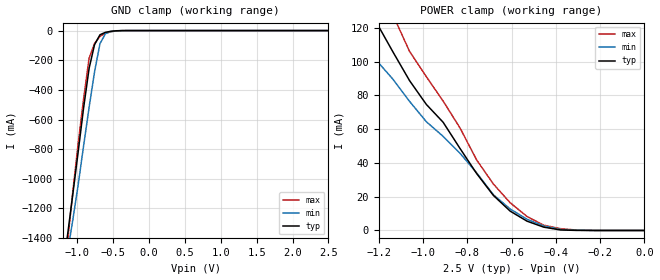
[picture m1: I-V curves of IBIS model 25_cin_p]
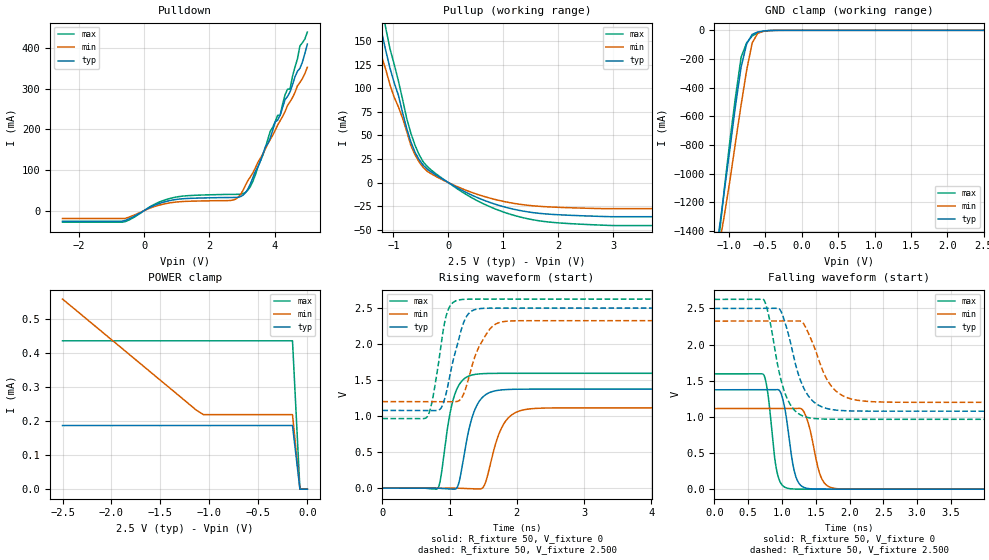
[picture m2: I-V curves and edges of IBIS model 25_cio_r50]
[IBIS Ver]   4.2
[File Name]  SevenSegmentSwitches.ibs
[File Rev]   3.0
[Date]   December 05, 2024
[Source]   Altera Corporation
[Notes]   - The models are designated as "Final" and have been correlated against physical device operation.
   - This IBIS model is checked using IBISCHK v5.0.4
   There are no known errors and warnings reported.
   - There are no known limitations for this IBIS model release.
   - Contact point: Altera Corporation, http://www.altera.com/corporate/contact/con-index.html
   - This file is generated using Quartus II Version 20.1.1 Build 720 11/11/2020 SJ Lite Edition
   - Unused IOs which have been assigned as tri-stated inputs or as outputs driving any signal in Quartus II
   arerepresented by the NC.
   - Only general purpose IBIS models are supported.
   Revision History
   - v1.0
   - Initial release of MAX 10 IBIS models. Models are based on pre-layout and early engineering info.
   - v2.0
   - Models are based on post-layout, may be missing certain features.
   - v3.0
   - Models have undergone final correlation against physical device operation.
[Disclaimer] Data is for modeling purposes only and is not guaranteed.
[Copyright]  Copyright (C) 2020  Intel Corporation. All rights reserved.
[Component]  10M50DAF484C7G_SevenSegmentSwitches
[Manufacturer] Altera Corporation
[Package]
| RLC values are for 484 FBGA package
| variable  typ   min   max
R_pkg   538m   189m   874m
L_pkg   4.73nH   2.00nH   8.14nH
C_pkg   1.04pF   0.55pF   1.67pF
[Pin] signal_name   model_name   R_pin   L_pin   C_pin
A1   GND   GND
A17   HEX1[4]   25_cio_r50   622.8m   5.389nH   1.286pF
A18   HEX1[5]   25_cio_r50   646.5m   5.203nH   1.362pF
A20   HEX2[1]   25_cio_r50   806.9m   7.451nH   1.498pF
A21   HEX2[3]   25_rio_r50   852.2m   7.511nH   1.592pF
A22   GND   GND
AA18  GND   GND
AA4   GND   GND
AB1   GND   GND
AB22  GND   GND
B13   GND   GND
B16   HEX1[3]   25_cio_r50   548.2m   4.460nH   1.125pF
B17   HEX1[6]   25_cio_r50   583.7m   4.729nH   1.194pF
B18   GND   GND
B19   HEX2[2]   25_cio_r50   750.6m   6.930nH   1.380pF
B20   HEX2[0]   25_rio_r50   784.2m   7.629nH   1.484pF
B21   HEX2[4]   25_rio_r50   810.9m   7.496nH   1.501pF
B22   HEX2[6]   25_rio_r50   874.6m   7.174nH   1.590pF
B6   GND   GND
B9   GND   GND
C10   switches[0]   25_cin_p   360.7m   3.168nH   0.905pF
C11   switches[1]   25_cin_p   356.1m   3.552nH   0.891pF
C12   switches[3]   25_cin_p   372.1m   3.451nH   0.787pF
C14   HEX0[0]   25_cio_r50   374.1m   3.688nH   0.772pF
C15   HEX0[2]   25_cio_r50   355.1m   3.646nH   0.863pF
C16   HEX0[3]   25_cio_r50   414.4m   3.789nH   0.966pF
C17   HEX0[6]   25_cio_r50   556.7m   4.473nH   0.983pF
C18   HEX1[0]   25_cio_r50   528.4m   4.394nH   1.094pF
C19   HEX3[3]   25_cio_r50   763.6m   6.298nH   1.380pF
C20   HEX3[4]   25_rio_r50   749.1m   7.394nH   1.433pF
C22   HEX2[5]   25_rio_r50   870.5m   8.142nH   1.672pF
D11   GND   GND
D12   switches[2]   25_cin_p   352.0m   3.084nH   0.728pF
D16   GND   GND
D17   HEX0[5]   25_cio_r50   565.9m   4.962nH   0.996pF
D18   HEX1[1]   25_rio_r50   514.2m   4.734nH   1.044pF
D19   HEX3[5]   25_rio_r50   708.9m   6.563nH   1.329pF
D20   GND   GND
D4   GND   GND
E15   HEX0[1]   25_cio_r50   324.9m   2.789nH   0.681pF
E16   HEX0[4]   25_cio_r50   339.2m   3.035nH   0.711pF
E17   HEX3[6]   25_rio_r50   483.8m   4.732nH   1.030pF
E18   HEX1[2]   25_rio_r50   498.5m   4.115nH   1.034pF
E19   HEX4[2]   25_rio_r50   565.4m   5.750nH   1.221pF
E2   GND   GND
E20   HEX4[1]   25_rio_r50   632.0m   6.551nH   1.226pF
E21   HEX3[2]   25_rio_r50   778.5m   6.938nH   1.410pF
E22   HEX3[1]   25_rio_r50   802.9m   7.537nH   1.491pF
E7   GND   GND
F10   GND   GND
F11   VCCIO8   POWER
F12   VCCIO7   POWER
F13   GND   GND
F14   VCCIO7   POWER
F18   HEX4[0]   25_rio_r50   511.9m   5.442nH   1.043pF
F19   HEX4[5]   25_rio_r50   607.3m   5.799nH   1.111pF
F20   HEX4[6]   25_rio_r50   650.1m   5.945nH   1.357pF
F21   HEX3[0]   25_rio_r50   680.2m   6.239nH   1.405pF
F9   VCCIO8   POWER
G10   VCCIO8   POWER
G11   VCCIO8   POWER
G12   VCCIO7   POWER
G13   VCCIO7   POWER
G14   VCCIO7   POWER
G15   GND   GND
G16   VCCD_PLL2   POWER
G18   GND   GND
G21   GND   GND
G6   GND   GND
G7   VCCD_PLL3   POWER
G8   GND   GND
H15   VCCA2   POWER
H16   VCCIO6   POWER
H19   HEX4[4]   25_rio_r50   261.8m   2.683nH   0.704pF
H7   VCCA_ADC   POWER
H8   VCCA3   POWER
J16   GND   GND
J17   VCCIO6   POWER
J18   HEX4[3]   25_rio_r50   189.6m   2.001nH   0.545pF
J19   GND   GND
J2   GND   GND
J20   HEX5[0]   25_rio_r50   423.1m   3.410nH   0.853pF
J6   GND   GND
J7   VCCINT   POWER
K10   GND   GND
K11   VCC   POWER
K12   GND   GND
K13   VCC   POWER
K16   VCCIO6   POWER
K17   VCCIO6   POWER
K20   HEX5[1]   25_rio_r50   392.4m   3.688nH   0.802pF
K3   GND   GND
K7   VCCIO1A   POWER
L10   VCC   POWER
L11   VCC   POWER
L12   VCC   POWER
L13   GND   GND
L16   VCCIO6   POWER
L17   GND   GND
L18   HEX5[2]   25_rio_r50   290.6m   2.908nH   0.757pF
L21   GND   GND
L5   GND   GND
L6   VCCIO1A   POWER
L7   VCCIO1B   POWER
M10   GND   GND
M11   VCC   POWER
M12   VCC   POWER
M13   VCC   POWER
M16   GND   GND
M17   VCCIO6   POWER
M19   GND   GND
M20   HEX5[4]   25_rio_r50   432.9m   4.020nH   0.848pF
M6   VCCIO1B   POWER
M7   GND   GND
N10   VCC   POWER
N11   GND   GND
N12   VCC   POWER
N13   GND   GND
N16   VCCIO5   POWER
N17   VCCIO6   POWER
N18   HEX5[3]   25_rio_r50   322.0m   3.439nH   0.764pF
N19   HEX5[5]   25_rio_r50   329.7m   3.736nH   0.832pF
N20   HEX5[6]   25_rio_r50   469.3m   4.833nH   0.955pF
N6   VCCIO2   POWER
N7   VCCIO2   POWER
P16   VCCIO5   POWER
P17   GND   GND
P2   GND   GND
P6   GND   GND
P7   VCCIO2   POWER
R16   VCCIO5   POWER
R17   VCCIO5   POWER
R19   GND   GND
R21   GND   GND
R6   VCCIO2   POWER
R8   VCCA1   POWER
T10   VCCIO3   POWER
T11   VCCIO3   POWER
T12   VCCIO4   POWER
T13   VCCIO4   POWER
T14   GND   GND
T15   VCCA4   POWER
T16   GND   GND
T17   VCCIO5   POWER
T4   GND   GND
T7   VCCD_PLL1   POWER
T8   GND   GND
T9   VCCIO3   POWER
U10   GND   GND
U11   VCCIO4   POWER
U12   VCCIO4   POWER
U13   GND   GND
U14   VCCIO4   POWER
U16   VCCD_PLL4   POWER
U8   VCCIO3   POWER
U9   VCCIO3   POWER
V19   GND   GND
V2   GND   GND
V6   GND   GND
W21   GND   GND
Y12   GND   GND
Y15   GND   GND
Y9   GND   GND
| Models and submodels in the file (3): 25_cin_p (Input), 25_cio_r50 (I/O), 25_rio_r50 (I/O)
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|MODEL 25_cin_p
[Model]   25_cin_p
Model_type   Input
Polarity   Non-Inverting
Vinl   = 0.700
Vinh   = 1.700
C_comp 4.5pF   4.5pF   4.5pF
[Model Spec]
Vinh   1.700   1.700   1.700
Vinl   0.700   0.700   0.700
[Temperature Range]   25   85   0
[Voltage Range]   2.500   2.325   2.625
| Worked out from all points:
|   GND clamp passes 1 mA (typ) near -0.44 V on its own axis
|   POWER clamp passes 1 mA (typ) near -0.41 V on its own axis
[GND Clamp]
| voltage   I (typ)   I (min)   I (max)
-2.5V     -5.9A      -5.373A    -6.888A
-1.136V   -1.391A    -1.505A    -1.44A
-1.061V   -1.107A    -1.279A    -1.088A
-984.9mV  -815mA     -1.038A    -757.7mA
-909.1mV  -518.6mA   -774.5mA   -457.2mA
-833.3mV  -255mA     -518.7mA   -186.5mA
-757.6mV  -94.81mA   -278.2mA   -87.08mA
-681.8mV  -28.16mA   -88.01mA   -39.35mA
-606.1mV  -11.9mA    -20.93mA   -18.07mA
-530.3mV  -4.732mA   -6.889mA   -7.205mA
-454.6mV  -1.272mA   -1.883mA   -2.74mA
2.5V      0A         0A         0A
[Power Clamp]
| voltage   I (typ)   I (min)   I (max)
-2.5V     372.2mA    294.9mA    435mA
-1.364V   144.9mA    122.3mA    171.2mA
-1.212V   123.6mA    101mA      146.3mA
-1.136V   105.9mA    89.7mA     127.9mA
-984.9mV  74.66mA    64.41mA    91.08mA
-909.1mV  64.11mA    55.73mA    76.67mA
-757.6mV  33.71mA    34.13mA    41.77mA
-681.8mV  20.74mA    21.14mA    27.47mA
-606.1mV  11.45mA    12.73mA    16.41mA
-530.3mV  5.533mA    6.673mA    8.311mA
-378.8mV  308.8uA    639.7uA    1.08mA
0V        0A         0A         0A
|MODEL 25_cio_r50
[Model]   25_cio_r50
Model_type   I/O
Polarity   Non-Inverting
Enable Active-Low
Vinl   = 0.700
Vinh   = 1.700
Vmeas  = 1.250
Rref   = 10M
Cref   = 0pF
Vref   = 0.000
C_comp 4.5pF   4.5pF   4.5pF
[Model Spec]
Vinh   1.700   1.700   1.700
Vinl   0.700   0.700   0.700
[Temperature Range]   25   85   0
[Voltage Range]   2.500   2.325   2.625
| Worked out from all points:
|   slope of the pulldown table from 0 to 0.375 V, typ, clamps not added: 25.2 ohm
|   slope of the pullup table from 0 to 0.375 V, typ, clamps not added: 31.4 ohm
|   GND clamp passes 1 mA (typ) near -0.44 V on its own axis
|   rising waveform, R_fixture 50, V_fixture 0: 20-80 % time 199ps typ, 228ps min, 173ps max; typ from 0 V to 1.37 V
|   falling waveform, R_fixture 50, V_fixture 0: 20-80 % time 131ps typ, 160ps min, 112ps max; typ from 1.37 V to 0 V
|   rising waveform, R_fixture 50, V_fixture 2.500: 20-80 % time 219ps typ, 268ps min, 165ps max; typ from 1.08 V to 2.5 V
|   falling waveform, R_fixture 50, V_fixture 2.500: 20-80 % time 268ps typ, 312ps min, 229ps max; typ from 2.5 V to 1.08 V
[GND Clamp]
| voltage   I (typ)   I (min)   I (max)
-2.5V     -5.91A     -5.381A    -6.902A
-1.136V   -1.393A    -1.507A    -1.443A
-1.061V   -1.109A    -1.281A    -1.09A
-984.9mV  -816.5mA   -1.039A    -759.1mA
-909.1mV  -519.5mA   -775.8mA   -457.9mA
-833.3mV  -255.4mA   -519.5mA   -186.8mA
-757.6mV  -94.85mA   -278.6mA   -87.18mA
-681.8mV  -28.16mA   -88.05mA   -39.36mA
-606.1mV  -11.9mA    -20.93mA   -18.07mA
-530.3mV  -4.732mA   -6.89mA    -7.206mA
-454.6mV  -1.272mA   -1.883mA   -2.74mA
2.5V      0A         0A         0A
[Pulldown]
| voltage   I (typ)   I (min)   I (max)
-2.5V     -26.09mA   -19.43mA   -28.49mA
-606.1mV  -24.69mA   -19.43mA   -27.68mA
833.3mV   25.48mA    19.58mA    30.82mA
2.727V    32.32mA    26.05mA    39.97mA
3.106V    43.99mA    62.78mA    45.13mA
3.333V    81.23mA    93.09mA    72.31mA
3.864V    178.1mA    174.7mA    195.2mA
4.167V    234.9mA    221mA      234.5mA
4.318V    273.2mA    243.9mA    285.5mA
4.47V     292mA      268mA      298.8mA
4.773V    350.2mA    315.2mA    405.3mA
5V        409.7mA    352.9mA    439.3mA
[Power Clamp]
| voltage   I (typ)   I (min)   I (max)
-2.5V     186.7uA    557.6uA    435.2uA
-1.136V   186.7uA    232.4uA    435.2uA
-1.061V   186.7uA    218.6uA    435.2uA
-151.5mV  186.7uA    218.6uA    435.2uA
-75.76mV  0A         0A         0A
0V        0A         0A         0A
[Pullup]
| voltage   I (typ)   I (min)   I (max)
-2.5V     446.5mA    356mA      511.4mA
-1.439V   205.9mA    172.6mA    236.5mA
-1.212V   159.5mA    133.5mA    188.4mA
-1.136V   139.7mA    119.6mA    163.4mA
-757.6mV  57.49mA    54.44mA    68.13mA
-681.8mV  43.14mA    39.45mA    52.43mA
-530.3mV  24.18mA    21.73mA    29.42mA
-303mV    10.93mA    9.031mA    12.82mA
151.5mV   -5.18mA    -4.063mA   -6.237mA
909.1mV   -24.06mA   -18.81mA   -29.3mA
1.667V    -32.77mA   -25.3mA    -40.74mA
5V        -36.29mA   -27.68mA   -45.66mA
[Ramp]
dV/dt_r   8.247e-01/1.987e-10 6.688e-01/2.280e-10 9.565e-01/1.725e-10
dV/dt_f   8.530e-01/2.683e-10 6.743e-01/3.122e-10 9.953e-01/2.285e-10
R_load = 50ohms
[Rising Waveform]
R_fixture   = 50
V_fixture   = 0
V_fixture_min = 0
V_fixture_max = 0
| time   V (typ)   V (min)   V (max)
0s        48.43nV    749.6nV    73.35nV
825ps     -1.107mV   17.82uV    -3.567mV
873.6ps   -4.302mV   33.16uV    170.5mV
1.005ns   -11.26mV   84.51uV    1.031V
1.116ns   14.88mV    -1.167mV   1.391V
1.345ns   1.01V      -10.09mV   1.573V
1.518ns   1.284V     39.84mV    1.59V
1.81ns    1.366V     896.2mV    1.594V
2.101ns   1.374V     1.086V     1.594V
6.926ns   1.375V     1.115V     1.594V
[Falling Waveform]
R_fixture   = 50
V_fixture   = 0
V_fixture_min = 0
V_fixture_max = 0
| time   V (typ)   V (min)   V (max)
0s        1.375V     1.115V     1.594V
730.7ps   1.375V     1.115V     1.578V
923.8ps   1.377V     1.115V     246.4mV
1.082ns   868.5mV    1.115V     12.1mV
1.172ns   288.7mV    1.115V     2.275mV
1.255ns   75.75mV    1.118V     488.8uV
1.379ns   9.783mV    941.7mV    55.2uV
1.579ns   389.3uV    163.1mV    1.72uV
1.758ns   24.11uV    14.11mV    -77.66nV
6.887ns   1.355uV    1.111uV    1.593uV
[Rising Waveform]
R_fixture   = 50
V_fixture   = 2.500
V_fixture_min   = 2.325
V_fixture_max   = 2.625
| time   V (typ)   V (min)   V (max)
0s        1.078V     1.201V     966mV
672.5ps   1.077V     1.201V     996.4mV
755.7ps   1.076V     1.201V     1.278V
866.6ps   1.103V     1.201V     1.941V
942.9ps   1.293V     1.2V       2.368V
1.123ns   2.017V     1.206V     2.61V
1.31ns    2.446V     1.615V     2.624V
1.553ns   2.498V     2.148V     2.625V
1.775ns   2.5V       2.307V     2.625V
6.926ns   2.5V       2.325V     2.625V
[Falling Waveform]
R_fixture   = 50
V_fixture   = 2.500
V_fixture_min   = 2.325
V_fixture_max   = 2.625
| time   V (typ)   V (min)   V (max)
0s        2.5V       2.325V     2.625V
730.7ps   2.5V       2.325V     2.618V
813.5ps   2.5V       2.325V     2.356V
958.2ps   2.495V     2.325V     1.614V
1.041ns   2.314V     2.325V     1.335V
1.234ns   1.612V     2.326V     1.05V
1.358ns   1.335V     2.222V     996mV
1.703ns   1.107V     1.46V      967.7mV
2.068ns   1.081V     1.238V     966.1mV
6.887ns   1.078V     1.201V     966mV
